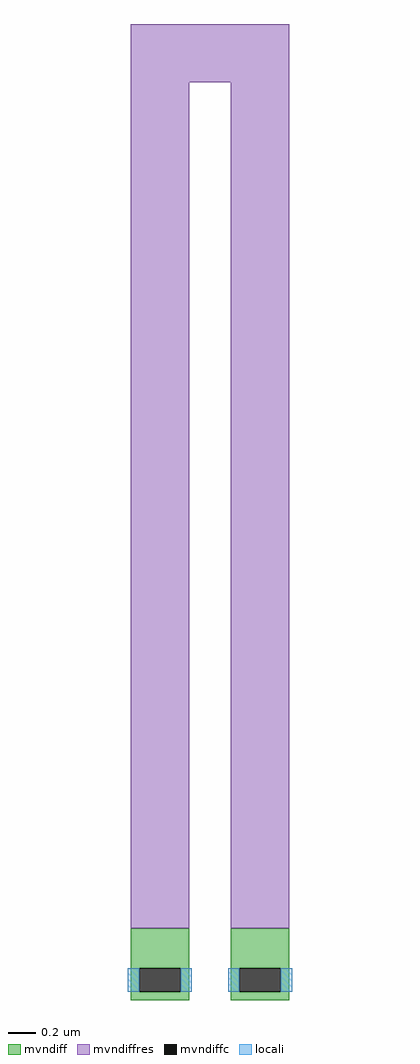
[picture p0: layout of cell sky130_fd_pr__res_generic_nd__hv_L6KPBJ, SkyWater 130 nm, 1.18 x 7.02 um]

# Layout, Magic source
magic
tech sky130A
magscale 1 2
<< mvndiff >>
rect -114 -655 -30 -598
rect -114 -689 -102 -655
rect -42 -689 -30 -655
rect -114 -701 -30 -689
rect 30 -655 114 -598
rect 30 -689 42 -655
rect 102 -689 114 -655
rect 30 -701 114 -689
<< mvndiffc >>
rect -102 -689 -42 -655
rect 42 -689 102 -655
<< mvndiffres >>
rect -114 618 114 702
rect -114 -598 -30 618
rect 30 -598 114 618
<< locali >>
rect -118 -689 -102 -655
rect -42 -689 -26 -655
rect 26 -689 42 -655
rect 102 -689 118 -655
<< properties >>
string gencell sky130_fd_pr__res_generic_nd__hv
string library sky130
string parameters w 0.42 l 6.28 m 1 nx 2 wmin 0.42 lmin 2.10 rho 120 val 4.008k dummy 0 dw 0.02 term 0.0 sterm 0.0 caplen 0.4 snake 1 guard 0 glc 1 grc 1 gtc 1 gbc 1 roverlap 0 endcov 100 full_metal 1 vias 1 viagb 0 viagt 0 viagl 0 viagr 0
<< end >>
